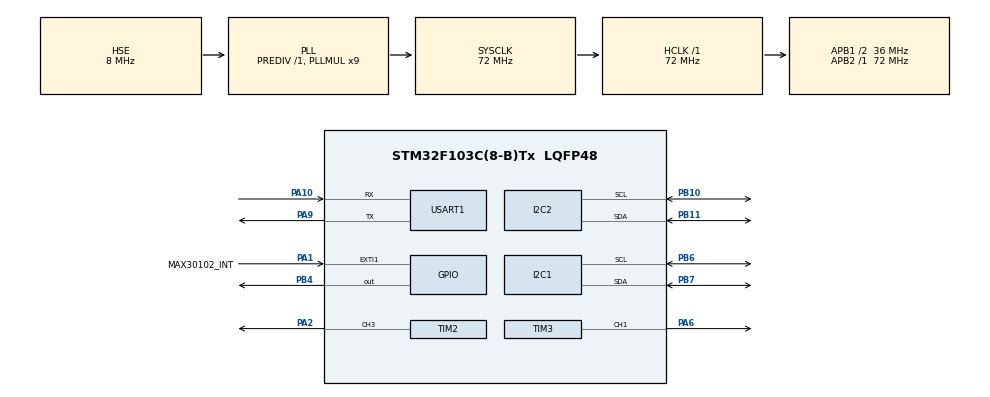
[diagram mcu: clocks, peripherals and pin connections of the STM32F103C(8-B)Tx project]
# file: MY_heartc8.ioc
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Dma.Request0=TIM2_CH3
Dma.TIM2_CH3.0.Direction=DMA_MEMORY_TO_PERIPH
Dma.TIM2_CH3.0.Instance=DMA1_Channel1
Dma.TIM2_CH3.0.MemDataAlignment=DMA_MDATAALIGN_WORD
Dma.TIM2_CH3.0.MemInc=DMA_MINC_ENABLE
Dma.TIM2_CH3.0.Mode=DMA_NORMAL
Dma.TIM2_CH3.0.PeriphDataAlignment=DMA_PDATAALIGN_WORD
Dma.TIM2_CH3.0.PeriphInc=DMA_PINC_DISABLE
Dma.TIM2_CH3.0.Priority=DMA_PRIORITY_LOW
FREERTOS.Tasks01=defaultTask,24,128,StartDefaultTask,Default,NULL,Dynamic,NULL,NULL
Mcu.Family=STM32F1
Mcu.Name=STM32F103C(8-B)Tx
Mcu.Package=LQFP48
NVIC.DMA1_Channel1_IRQn=true\:5\:0\:false\:false\:true\:true\:false\:true
NVIC.EXTI1_IRQn=true\:5\:0\:false\:false\:true\:true\:true\:true
NVIC.PriorityGroup=NVIC_PRIORITYGROUP_4
NVIC.TIM1_UP_IRQn=true\:15\:0\:false\:false\:true\:false\:false\:true
NVIC.TimeBase=TIM1_UP_IRQn
NVIC.TimeBaseIP=TIM1
PA1.GPIO_Label=MAX30102_INT
PA1.GPIO_ModeDefaultEXTI=GPIO_MODE_IT_FALLING
PA1.GPIO_PuPd=GPIO_PULLUP
PA1.Signal=GPXTI1
PA10.Mode=Asynchronous
PA10.Signal=USART1_RX
PA13.Mode=Serial_Wire
PA13.Signal=SYS_JTMS-SWDIO
PA14.Mode=Serial_Wire
PA14.Signal=SYS_JTCK-SWCLK
PA2.Signal=S_TIM2_CH3
PA6.Signal=S_TIM3_CH1
PA9.Mode=Asynchronous
PA9.Signal=USART1_TX
PB10.Mode=I2C
PB10.Signal=I2C2_SCL
PB11.Mode=I2C
PB11.Signal=I2C2_SDA
PB4.Signal=GPIO_Output
PB6.Mode=I2C
PB6.Signal=I2C1_SCL
PB7.Mode=I2C
PB7.Signal=I2C1_SDA
PD0-OSC_IN.Mode=HSE-External-Oscillator
PD0-OSC_IN.Signal=RCC_OSC_IN
PD1-OSC_OUT.Mode=HSE-External-Oscillator
PD1-OSC_OUT.Signal=RCC_OSC_OUT
ProjectManager.HeapSize=0x200
ProjectManager.StackSize=0x400
ProjectManager.TargetToolchain=MDK-ARM V5
RCC.AHBFreq_Value=72000000
RCC.APB1CLKDivider=RCC_HCLK_DIV2
RCC.APB1Freq_Value=36000000
RCC.APB1TimFreq_Value=72000000
RCC.APB2Freq_Value=72000000
RCC.APB2TimFreq_Value=72000000
RCC.HCLKFreq_Value=72000000
RCC.PLLMUL=RCC_PLL_MUL9
RCC.PLLSourceVirtual=RCC_PLLSOURCE_HSE
RCC.SYSCLKFreq_VALUE=72000000
RCC.SYSCLKSource=RCC_SYSCLKSOURCE_PLLCLK
RCC.USBFreq_Value=72000000
SH.S_TIM2_CH3.0=TIM2_CH3,PWM Generation3 CH3
SH.S_TIM3_CH1.0=TIM3_CH1,PWM Generation1 CH1
TIM2.Channel-PWM\ Generation3\ CH3=TIM_CHANNEL_3
TIM2.Period=89
TIM3.Channel-PWM\ Generation1\ CH1=TIM_CHANNEL_1
TIM3.Period=999
TIM3.Prescaler=71
TIM3.Pulse-PWM\ Generation1\ CH1=500
USART1.VirtualMode=VM_ASYNC
VP_FREERTOS_VS_CMSIS_V2.Mode=CMSIS_V2
VP_SYS_VS_tim1.Mode=TIM1
VP_TIM2_VS_ClockSourceINT.Mode=Internal
VP_TIM3_VS_ClockSourceINT.Mode=Internal
board=custom

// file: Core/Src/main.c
/* USER CODE BEGIN Header */
/**
  ******************************************************************************
  * @file           : main.c
  * @brief          : Main program body
  ******************************************************************************
  * @attention
  *
  * Copyright (c) 2023 STMicroelectronics.
  * All rights reserved.
  *
  * This software is licensed under terms that can be found in the LICENSE file
  * in the root directory of this software component.
  * If no LICENSE file comes with this software, it is provided AS-IS.
  *
  ******************************************************************************
  */
/* USER CODE END Header */
#include "main.h"
#include "cmsis_os.h"
#include "dma.h"
#include "i2c.h"
#include "tim.h"
#include "usart.h"
#include "gpio.h"

void SystemClock_Config(void);
void MX_FREERTOS_Init(void);

int main(void)
{

  /* MCU Configuration--------------------------------------------------------*/

  /* Reset of all peripherals, Initializes the Flash interface and the Systick. */
  HAL_Init();

  /* Configure the system clock */
  SystemClock_Config();

  /* Initialize all configured peripherals */
  MX_GPIO_Init();
  MX_DMA_Init();
  MX_TIM2_Init();
  MX_I2C1_Init();
  MX_I2C2_Init();
  MX_TIM3_Init();
  MX_USART1_UART_Init();

  /* Init scheduler */
  osKernelInitialize();  /* Call init function for freertos objects (in freertos.c) */
  MX_FREERTOS_Init();
  /* Start scheduler */
  osKernelStart();

  /* We should never get here as control is now taken by the scheduler */
  /* Infinite loop */
  /* USER CODE BEGIN WHILE */
  while (1)
  {
	  //ws2812控制及蜂鸣器

    /* USER CODE END WHILE */

  }
}

void SystemClock_Config(void)
{
  RCC_OscInitTypeDef RCC_OscInitStruct = {0};
  RCC_ClkInitTypeDef RCC_ClkInitStruct = {0};

  /** Initializes the RCC Oscillators according to the specified parameters
  * in the RCC_OscInitTypeDef structure.
  */
  RCC_OscInitStruct.OscillatorType = RCC_OSCILLATORTYPE_HSE;
  RCC_OscInitStruct.HSEState = RCC_HSE_ON;
  RCC_OscInitStruct.HSEPredivValue = RCC_HSE_PREDIV_DIV1;
  RCC_OscInitStruct.HSIState = RCC_HSI_ON;
  RCC_OscInitStruct.PLL.PLLState = RCC_PLL_ON;
  RCC_OscInitStruct.PLL.PLLSource = RCC_PLLSOURCE_HSE;
  RCC_OscInitStruct.PLL.PLLMUL = RCC_PLL_MUL9;
  if (HAL_RCC_OscConfig(&RCC_OscInitStruct) != HAL_OK)
  {
    Error_Handler();
  }
  /** Initializes the CPU, AHB and APB buses clocks
  */
  RCC_ClkInitStruct.ClockType = RCC_CLOCKTYPE_HCLK|RCC_CLOCKTYPE_SYSCLK
                              |RCC_CLOCKTYPE_PCLK1|RCC_CLOCKTYPE_PCLK2;
  RCC_ClkInitStruct.SYSCLKSource = RCC_SYSCLKSOURCE_PLLCLK;
  RCC_ClkInitStruct.AHBCLKDivider = RCC_SYSCLK_DIV1;
  RCC_ClkInitStruct.APB1CLKDivider = RCC_HCLK_DIV2;
  RCC_ClkInitStruct.APB2CLKDivider = RCC_HCLK_DIV1;

  if (HAL_RCC_ClockConfig(&RCC_ClkInitStruct, FLASH_LATENCY_2) != HAL_OK)
  {
    Error_Handler();
  }
}

void HAL_TIM_PeriodElapsedCallback(TIM_HandleTypeDef *htim)
{
  if (htim->Instance == TIM1) {
    HAL_IncTick();
  }
}

void Error_Handler(void)
{
  __disable_irq();
  while (1)
  {
  }
}

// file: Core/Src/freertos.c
/* USER CODE BEGIN Header */
/**
  ******************************************************************************
  * File Name          : freertos.c
  * Description        : Code for freertos applications
  ******************************************************************************
  * @attention
  *
  * Copyright (c) 2023 STMicroelectronics.
  * All rights reserved.
  *
  * This software is licensed under terms that can be found in the LICENSE file
  * in the root directory of this software component.
  * If no LICENSE file comes with this software, it is provided AS-IS.
  *
  ******************************************************************************
  */
/* USER CODE END Header */

#include "FreeRTOS.h"
#include "task.h"
#include "main.h"
#include "cmsis_os.h"

/* USER CODE BEGIN Includes */
#include "stdio.h"
#include "max30102.h"
#include "max30102_fir.h"
#include "oled.h"
#include "ws2812.h"
#include "usart.h"
#include "tim.h"

int fputc(int ch,FILE *f)
{
	HAL_UART_Transmit(&huart1,(uint8_t *)&ch,1,0xffff);
	return ch;
}

#define START_TASK_PRIO 		1
#define START_TASK_STACK_SIZE   128
TaskHandle_t   start_task_handler;
void start_task(void * pvParameters );

#define TASK1_PRIO 3
#define TASK1_STACK_SIZE 128
TaskHandle_t task1_handler;
void task1(void * pvParameters );

#define TASK2_PRIO 2
#define TASK2_STACK_SIZE 128
TaskHandle_t task2_handler;
void task2(void * pvParameters );
/* USER CODE END Includes */

/* USER CODE BEGIN PD */
uint8_t max30102_int_flag = 0; // 中断标志
float ppg_data_cache_RED[CACHE_NUMS] = {0}; // 缓存区
float ppg_data_cache_IR[CACHE_NUMS] = {0};  // 缓存区
uint16_t cache_counter = 0; // 缓存计数器
int touch_30102=0;
float max30102_data[2], fir_output[2];
uint16_t HeartRate = 0;
float SpO2 = 0;

int heart_cycle=750;//心率周期
/* USER CODE END PD */

/* USER CODE BEGIN PM */
void start_task(void * pvParameters )
{
  taskENTER_CRITICAL();
     /*******************************************/
  //OLED初始化
  OLED_Init();
  OLED_Clear();
  OLED_ShowCHinese24(0+6,0,0);
  OLED_ShowCHinese24(28+6,0,1);
  OLED_ShowNUM24(56+6,0,10);
  OLED_ShowNUM24(70+6,0,0);
  /*******************************************/
//心率检测模块相关初始化
  max30102_init();
  max30102_fir_init();
  printf("Max30102 Init\r\n");
/******************************************/
  xTaskCreate(task1,"task1",TASK1_STACK_SIZE,NULL,TASK1_PRIO,&task1_handler);
  xTaskCreate(task2,"task2",TASK2_STACK_SIZE,NULL,TASK2_PRIO,&task2_handler);

  vTaskDelete(NULL);
  taskEXIT_CRITICAL();
}

//ws2812及蜂鸣器控制 感觉touch_30102和heart_cycle需要进行保护，有个问题，想要保护信号就不能调用vTaskDelay，否则无法立刻返回

//但是要实现可变规律性ws2812闪烁，感觉只能vTaskDelay，或者因为这两个信号都在一个任务中改写，可以在那一部分进入临界区保护，退而求其次，然而实践发现
//由于MAX30102时间未知，导致临界区时间太长，直接系统崩溃

//再者，可以调用HAL_Delay,既能实现灯闪烁，又不影响调度，但是总的还是影响信号量的接收

//最后，感觉只能采用计数的方式，将延时时间往小改
/*void task1( void * pvParameters )
{
    while(1)
    {
		if(touch_30102)
		{
		   rgb_show(17,RED);
		   HAL_TIM_PWM_Start(&htim3,TIM_CHANNEL_1);
		   vTaskDelay(heart_cycle/8);

			rgb_show(17,BLACK);
			HAL_TIM_PWM_Stop(&htim3,TIM_CHANNEL_1);
			vTaskDelay(heart_cycle/8*7);             //这种固定时间，再返回任务的时候不能立马切换到else部分
		}
		else
		{
		  HAL_TIM_PWM_Stop(&htim3,TIM_CHANNEL_1);
		  rainbowCycle(1);
		  vTaskDelay(1);
		}
	}
}*/

//优化后的task1，无法实现二值信号量保护，因为task2中信号发送太慢了，导致led闪烁出现问题
//还是采用临界区代码保护吧，但是只保护赋值那一行
void task1( void * pvParameters )
{
    uint32_t count=0;
    while(1)
    {
		if(touch_30102)
		{
			count++;
			if(count<=heart_cycle/8)
			{
		      rgb_show(17,RED);
		      HAL_TIM_PWM_Start(&htim3,TIM_CHANNEL_1);
			}
			else if(count>heart_cycle)
			  count=0;
			else
			{
			  rgb_show(17,BLACK);
			  HAL_TIM_PWM_Stop(&htim3,TIM_CHANNEL_1);
			}
			vTaskDelay(1);
		}
		else
		{
		  HAL_TIM_PWM_Stop(&htim3,TIM_CHANNEL_1);
		  rainbowCycle(1);
		  vTaskDelay(1);
		}
	}
}

void task2( void * pvParameters )   //MAX30102控制，设置比task1低级
{
    while(1)
    {
	  //心率检测，完成OLED显示及心率周期计算
	// taskENTER_CRITICAL();               /* 进入临界区 */ //
     if(MAX30102_Get_DATA(&HeartRate,&SpO2,max30102_data,fir_output) == MAX30102_DATA_OK)
	 {
		//printf("心率：%d  次/min   ", HeartRate);
		if(HeartRate>=60&&HeartRate<=110)
		{
			taskENTER_CRITICAL();               /* 进入临界区 */
			heart_cycle=60000/HeartRate; //计算心率周期（ms）
			taskEXIT_CRITICAL();                //退出临界区
			if(HeartRate>=100)
			{
			 OLED_ShowNUM24(70+6,0,HeartRate/100);
			 OLED_ShowNUM24(86+6,0,HeartRate%100/10);
			 OLED_ShowNUM24(102+6,0,HeartRate%100%10);
			}
			else if(HeartRate>=60)
			{
			  OLED_ShowNUM24(70+6,0,HeartRate%100/10);
			  OLED_ShowNUM24(86+6,0,HeartRate%100%10);
			  OLED_ShowNUM24(102+6,0,11);
			}
		}
	 }
	}
}
/* USER CODE END PM */

/* Definitions for defaultTask */
osThreadId_t defaultTaskHandle;
const osThreadAttr_t defaultTask_attributes = {
  .name = "defaultTask",
  .stack_size = 128 * 4,
  .priority = (osPriority_t) osPriorityNormal,
};

void StartDefaultTask(void *argument);

void MX_FREERTOS_Init(void); /* (MISRA C 2004 rule 8.1) */

void MX_FREERTOS_Init(void) {
  /* USER CODE BEGIN Init */
  xTaskCreate(start_task,"start_task",START_TASK_STACK_SIZE,NULL,START_TASK_PRIO,&start_task_handler);//创建初始化任务
  /* USER CODE END Init */

  /* Create the thread(s) */
  /* creation of defaultTask */
  defaultTaskHandle = osThreadNew(StartDefaultTask, NULL, &defaultTask_attributes);

}

void StartDefaultTask(void *argument)
{
  for(;;)
  {
    osDelay(1);
  }
}
